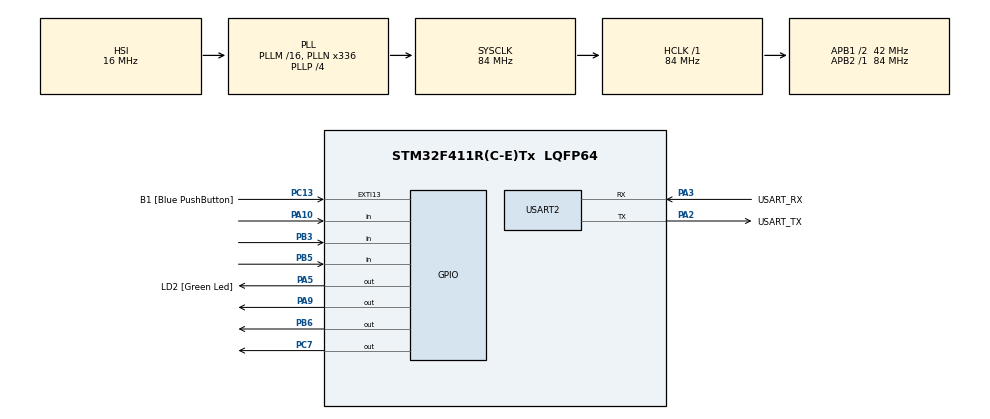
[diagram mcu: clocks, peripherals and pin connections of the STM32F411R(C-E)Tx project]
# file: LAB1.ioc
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Mcu.Family=STM32F4
Mcu.Name=STM32F411R(C-E)Tx
Mcu.Package=LQFP64
NVIC.PriorityGroup=NVIC_PRIORITYGROUP_0
PA10.Signal=GPIO_Input
PA13.GPIO_Label=TMS
PA13.Mode=Serial_Wire
PA13.Signal=SYS_JTMS-SWDIO
PA14.GPIO_Label=TCK
PA14.Mode=Serial_Wire
PA14.Signal=SYS_JTCK-SWCLK
PA2.GPIO_Label=USART_TX
PA2.Mode=Asynchronous
PA2.Signal=USART2_TX
PA3.GPIO_Label=USART_RX
PA3.Mode=Asynchronous
PA3.Signal=USART2_RX
PA5.GPIO_Label=LD2 [Green Led]
PA5.Signal=GPIO_Output
PA9.Signal=GPIO_Output
PB3.Signal=GPIO_Input
PB5.Signal=GPIO_Input
PB6.Signal=GPIO_Output
PC13-ANTI_TAMP.GPIO_Label=B1 [Blue PushButton]
PC13-ANTI_TAMP.GPIO_ModeDefaultEXTI=GPIO_MODE_IT_FALLING
PC13-ANTI_TAMP.Signal=GPXTI13
PC14-OSC32_IN.Mode=LSE-External-Oscillator
PC14-OSC32_IN.Signal=RCC_OSC32_IN
PC15-OSC32_OUT.Mode=LSE-External-Oscillator
PC15-OSC32_OUT.Signal=RCC_OSC32_OUT
PC7.Signal=GPIO_Output
PH0\ -\ OSC_IN.Mode=HSE-External-Clock-Source
PH0\ -\ OSC_IN.Signal=RCC_OSC_IN
PH1\ -\ OSC_OUT.Mode=HSE-External-Clock-Source
PH1\ -\ OSC_OUT.Signal=RCC_OSC_OUT
ProjectManager.HeapSize=0x200
ProjectManager.StackSize=0x400
ProjectManager.TargetToolchain=STM32CubeIDE
RCC.48MHZClocksFreq_Value=84000000
RCC.AHBFreq_Value=84000000
RCC.APB1CLKDivider=RCC_HCLK_DIV2
RCC.APB1Freq_Value=42000000
RCC.APB1TimFreq_Value=84000000
RCC.APB2Freq_Value=84000000
RCC.APB2TimFreq_Value=84000000
RCC.CortexFreq_Value=84000000
RCC.FLatency-AdvancedSettings=FLASH_LATENCY_2
RCC.HCLKFreq_Value=84000000
RCC.HSE_VALUE=8000000
RCC.HSI_VALUE=16000000
RCC.PLLN=336
RCC.PLLP=RCC_PLLP_DIV4
RCC.SYSCLKFreq_VALUE=84000000
RCC.SYSCLKSource=RCC_SYSCLKSOURCE_PLLCLK
RCC.VCOOutputFreq_Value=336000000
USART2.VirtualMode=VM_ASYNC
board=NUCLEO-F411RE

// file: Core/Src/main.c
/* USER CODE BEGIN Header */
/**
 ******************************************************************************
 * @file           : main.c
 * @brief          : Main program body
 ******************************************************************************
 * @attention
 *
 * <h2><center>&copy; Copyright (c) 2021 STMicroelectronics.
 * All rights reserved.</center></h2>
 *
 * This software component is licensed by ST under BSD 3-Clause license,
 * the "License"; You may not use this file except in compliance with the
 * License. You may obtain a copy of the License at:
 *                        opensource.org/licenses/BSD-3-Clause
 *
 ******************************************************************************
 */
/* USER CODE END Header */
#include "main.h"

UART_HandleTypeDef huart2;

void SystemClock_Config(void);
static void MX_GPIO_Init(void);
static void MX_USART2_UART_Init(void);

int main(void) {

	/* MCU Configuration--------------------------------------------------------*/

	/* Reset of all peripherals, Initializes the Flash interface and the Systick. */
	HAL_Init();

	/* Configure the system clock */
	SystemClock_Config();

	/* Initialize all configured peripherals */
	MX_GPIO_Init();
	MX_USART2_UART_Init();
	/* USER CODE BEGIN 2 */
	//------------------------------------------------------

	//*---------สร้างตัวแปร----------*//
	GPIO_PinState SwitchState[2];  		// Now, Previous ----> ใช้สำหรับรับค่า 0 Now, 1 Previous [GPIO_PinState สามารถเขียนเป็น uint8_t ได้ แค่ให้รับตัวเลข 0 1 ได้]
	uint16_t LED1_Half_Period = 1000;  	// 1 Hz (mS)
	uint32_t TimeStamp = 0;			       //ตัวเก็บเวลา Typeเดียวกับ HAL_GetTick()
	uint32_t ButtonTimeStamp = 0;
	GPIO_PinState Check[2];
	uint32_t CheckS = 0;
	GPIO_PinState FIBO[2];
	uint32_t FIBOS = 0;
	uint16_t LED3_Half_Period = 500;
	uint32_t TimeStamp3 = 0;

	//------------------------------------------------------
	/* USER CODE END 2 */

	/* Infinite loop */
	/* USER CODE BEGIN WHILE */

	while (1) {
//*----------HAL_GPIO_ReadPin()---------*//
		HAL_GPIO_ReadPin(GPIOA, GPIO_PIN_10); //S1 PA10
		HAL_GPIO_ReadPin(GPIOB, GPIO_PIN_3);  //S2 PB3
		HAL_GPIO_ReadPin(GPIOB, GPIO_PIN_5);  //S3 PB5

//*---------------ลดความเบลอของปุ่ม---------------*//
		if (HAL_GetTick() - ButtonTimeStamp >= 100)		//ทำให้เป็นความเร็วกดทุก 100mS --->assume >> Debounce Sw
		{												//ลดความถี่ลง เพราะเราไม่สามารถกดปุ่มรัวได้ขนาดนั้น จะเช็คได้ง่ายขึ้น และเจอ  noise น้อยลง
			ButtonTimeStamp = HAL_GetTick();  // HAL_GetTick(); ---> อ่านเวลาที่เริ่มทำงานจนถึงปัจจุบัน(mS)

//-----------------อ่านค่าของPinต่างๆ-------------------*//
			SwitchState[0] = HAL_GPIO_ReadPin(GPIOA, GPIO_PIN_10);
			Check[0] = HAL_GPIO_ReadPin(GPIOB, GPIO_PIN_3);
			FIBO[0] = HAL_GPIO_ReadPin(GPIOB, GPIO_PIN_5);
			//Press = Low , No = High

//------------------------------------PART 1-------------------------------------//
			if (SwitchState[1] == GPIO_PIN_SET && SwitchState[0] == GPIO_PIN_RESET)  // ถ้า Pre เป็น Hi Now เป็น Lo
			{
				// set = high , reset = low
				//Change Half Period of LED 1
				if (LED1_Half_Period == 1000)		//NOW
				{
					LED1_Half_Period = 500;   		//NEXT
				}
				else if (LED1_Half_Period == 500)
				{
					LED1_Half_Period = 250;
				}
				else if (LED1_Half_Period == 250)
				{
					LED1_Half_Period = 167;
				}
				else
				{
					LED1_Half_Period = 1000;
				}
			}

//------------------------------------PART 2-------------------------------------//
			if (Check[0] == GPIO_PIN_RESET && Check[1] == GPIO_PIN_SET) // ถ้า  Now เป็น Lo Pre เป็น Hi
			{
				if (CheckS == 0)
				{
					HAL_GPIO_WritePin(GPIOC, GPIO_PIN_7, GPIO_PIN_SET);
					CheckS = 1;
				}
				else
				{
					HAL_GPIO_WritePin(GPIOC, GPIO_PIN_7, GPIO_PIN_RESET);
					CheckS = 0;
				}
			}

//------------------------------------PART 3-------------------------------------//
			if (FIBO[0] == GPIO_PIN_RESET && FIBO[1] == GPIO_PIN_SET) // ถ้า  Now เป็น Lo Pre เป็น Hi
			{
				if (FIBOS == 0)
				{
					LED3_Half_Period = 500;
					FIBOS = 1;
				}
				else
				{
					LED3_Half_Period = 1500;
					FIBOS = 0;
				}
			}

//----------------------Save Now State------------------------//
			SwitchState[1] = SwitchState[0];
			Check[1] = Check[0];
			FIBO[1] = FIBO[0];
		}

//Run LED ZONE!
//------------------------------------PART 1-------------------------------------//
		if (HAL_GetTick() - TimeStamp >= LED1_Half_Period) //millisecond now time
				{
			TimeStamp = HAL_GetTick();       									  //บันทึกเวลาปัจจุบัน เพื่อให้รู้ว่ารอบต่อไปต้องใช้กี่วินาที
			if (HAL_GPIO_ReadPin(GPIOA, GPIO_PIN_9) == GPIO_PIN_SET) 			 //D1 PA9
			{
				HAL_GPIO_WritePin(GPIOA, GPIO_PIN_9, GPIO_PIN_RESET);            //สามารถอ่าน (HAL_GPIO_ReadPin();) PIN state ปัจจุบันได้เสมอ ไม่เกี่ยวว่าเป็น Output/Input
			} 																	  //แต่จะเขียนได้ก็ต่อเมื่อเป็น Output เท่านั้น HAL_GPIO_Write();
			else
			{
				HAL_GPIO_WritePin(GPIOA, GPIO_PIN_9, GPIO_PIN_SET);
			}
		}

//------------------------------------PART 3-------------------------------------//
		if (FIBOS == 1)
		{
			if (HAL_GetTick() - TimeStamp3 >= LED3_Half_Period) //millisecond now time
					{
				TimeStamp3 = HAL_GetTick();
				if (HAL_GPIO_ReadPin(GPIOB, GPIO_PIN_6) == GPIO_PIN_SET)
				{
					LED3_Half_Period = 500;
					HAL_GPIO_WritePin(GPIOB, GPIO_PIN_6, GPIO_PIN_RESET);
				}
				else
				{
					LED3_Half_Period = 1500;
					HAL_GPIO_WritePin(GPIOB, GPIO_PIN_6, GPIO_PIN_SET);
				}
			}
		}

		if (FIBOS == 0)
		{
			if (HAL_GetTick() - TimeStamp3 >= LED3_Half_Period) //millisecond now time
					{
				TimeStamp3 = HAL_GetTick();
				if (HAL_GPIO_ReadPin(GPIOB, GPIO_PIN_6) == GPIO_PIN_SET)
				{
					LED3_Half_Period = 1500;
					HAL_GPIO_WritePin(GPIOB, GPIO_PIN_6, GPIO_PIN_RESET);
				}
				else
				{
					LED3_Half_Period = 500;
					HAL_GPIO_WritePin(GPIOB, GPIO_PIN_6, GPIO_PIN_SET);
				}
			}
		}

		/* USER CODE END WHILE */

	}
}

void SystemClock_Config(void) {
	RCC_OscInitTypeDef RCC_OscInitStruct = { 0 };
	RCC_ClkInitTypeDef RCC_ClkInitStruct = { 0 };

	/** Configure the main internal regulator output voltage
	 */
	__HAL_RCC_PWR_CLK_ENABLE();
	__HAL_PWR_VOLTAGESCALING_CONFIG(PWR_REGULATOR_VOLTAGE_SCALE1);
	/** Initializes the RCC Oscillators according to the specified parameters
	 * in the RCC_OscInitTypeDef structure.
	 */
	RCC_OscInitStruct.OscillatorType = RCC_OSCILLATORTYPE_HSI;
	RCC_OscInitStruct.HSIState = RCC_HSI_ON;
	RCC_OscInitStruct.HSICalibrationValue = RCC_HSICALIBRATION_DEFAULT;
	RCC_OscInitStruct.PLL.PLLState = RCC_PLL_ON;
	RCC_OscInitStruct.PLL.PLLSource = RCC_PLLSOURCE_HSI;
	RCC_OscInitStruct.PLL.PLLM = 16;
	RCC_OscInitStruct.PLL.PLLN = 336;
	RCC_OscInitStruct.PLL.PLLP = RCC_PLLP_DIV4;
	RCC_OscInitStruct.PLL.PLLQ = 4;
	if (HAL_RCC_OscConfig(&RCC_OscInitStruct) != HAL_OK) {
		Error_Handler();
	}
	/** Initializes the CPU, AHB and APB buses clocks
	 */
	RCC_ClkInitStruct.ClockType = RCC_CLOCKTYPE_HCLK | RCC_CLOCKTYPE_SYSCLK
			| RCC_CLOCKTYPE_PCLK1 | RCC_CLOCKTYPE_PCLK2;
	RCC_ClkInitStruct.SYSCLKSource = RCC_SYSCLKSOURCE_PLLCLK;
	RCC_ClkInitStruct.AHBCLKDivider = RCC_SYSCLK_DIV1;
	RCC_ClkInitStruct.APB1CLKDivider = RCC_HCLK_DIV2;
	RCC_ClkInitStruct.APB2CLKDivider = RCC_HCLK_DIV1;

	if (HAL_RCC_ClockConfig(&RCC_ClkInitStruct, FLASH_LATENCY_2) != HAL_OK) {
		Error_Handler();
	}
}

static void MX_USART2_UART_Init(void) {

	huart2.Instance = USART2;
	huart2.Init.BaudRate = 115200;
	huart2.Init.WordLength = UART_WORDLENGTH_8B;
	huart2.Init.StopBits = UART_STOPBITS_1;
	huart2.Init.Parity = UART_PARITY_NONE;
	huart2.Init.Mode = UART_MODE_TX_RX;
	huart2.Init.HwFlowCtl = UART_HWCONTROL_NONE;
	huart2.Init.OverSampling = UART_OVERSAMPLING_16;
	if (HAL_UART_Init(&huart2) != HAL_OK) {
		Error_Handler();
	}

}

static void MX_GPIO_Init(void) {
	GPIO_InitTypeDef GPIO_InitStruct = { 0 };

	/* GPIO Ports Clock Enable */
	__HAL_RCC_GPIOC_CLK_ENABLE();
	__HAL_RCC_GPIOH_CLK_ENABLE();
	__HAL_RCC_GPIOA_CLK_ENABLE();
	__HAL_RCC_GPIOB_CLK_ENABLE();

	/*Configure GPIO pin Output Level */
	HAL_GPIO_WritePin(GPIOA, LD2_Pin | GPIO_PIN_9, GPIO_PIN_RESET);

	/*Configure GPIO pin Output Level */
	HAL_GPIO_WritePin(GPIOC, GPIO_PIN_7, GPIO_PIN_RESET);

	/*Configure GPIO pin Output Level */
	HAL_GPIO_WritePin(GPIOB, GPIO_PIN_6, GPIO_PIN_RESET);

	/*Configure GPIO pin : B1_Pin */
	GPIO_InitStruct.Pin = B1_Pin;
	GPIO_InitStruct.Mode = GPIO_MODE_IT_FALLING;
	GPIO_InitStruct.Pull = GPIO_NOPULL;
	HAL_GPIO_Init(B1_GPIO_Port, &GPIO_InitStruct);

	/*Configure GPIO pins : LD2_Pin PA9 */
	GPIO_InitStruct.Pin = LD2_Pin | GPIO_PIN_9;
	GPIO_InitStruct.Mode = GPIO_MODE_OUTPUT_PP;
	GPIO_InitStruct.Pull = GPIO_NOPULL;
	GPIO_InitStruct.Speed = GPIO_SPEED_FREQ_LOW;
	HAL_GPIO_Init(GPIOA, &GPIO_InitStruct);

	/*Configure GPIO pin : PC7 */
	GPIO_InitStruct.Pin = GPIO_PIN_7;
	GPIO_InitStruct.Mode = GPIO_MODE_OUTPUT_PP;
	GPIO_InitStruct.Pull = GPIO_NOPULL;
	GPIO_InitStruct.Speed = GPIO_SPEED_FREQ_LOW;
	HAL_GPIO_Init(GPIOC, &GPIO_InitStruct);

	/*Configure GPIO pin : PA10 */
	GPIO_InitStruct.Pin = GPIO_PIN_10;
	GPIO_InitStruct.Mode = GPIO_MODE_INPUT;
	GPIO_InitStruct.Pull = GPIO_NOPULL;
	HAL_GPIO_Init(GPIOA, &GPIO_InitStruct);

	/*Configure GPIO pins : PB3 PB5 */
	GPIO_InitStruct.Pin = GPIO_PIN_3 | GPIO_PIN_5;
	GPIO_InitStruct.Mode = GPIO_MODE_INPUT;
	GPIO_InitStruct.Pull = GPIO_NOPULL;
	HAL_GPIO_Init(GPIOB, &GPIO_InitStruct);

	/*Configure GPIO pin : PB6 */
	GPIO_InitStruct.Pin = GPIO_PIN_6;
	GPIO_InitStruct.Mode = GPIO_MODE_OUTPUT_PP;
	GPIO_InitStruct.Pull = GPIO_NOPULL;
	GPIO_InitStruct.Speed = GPIO_SPEED_FREQ_LOW;
	HAL_GPIO_Init(GPIOB, &GPIO_InitStruct);

}

void Error_Handler(void) {
	__disable_irq();
	while (1) {
	}
}

/************************ (C) COPYRIGHT STMicroelectronics *****END OF FILE****/
